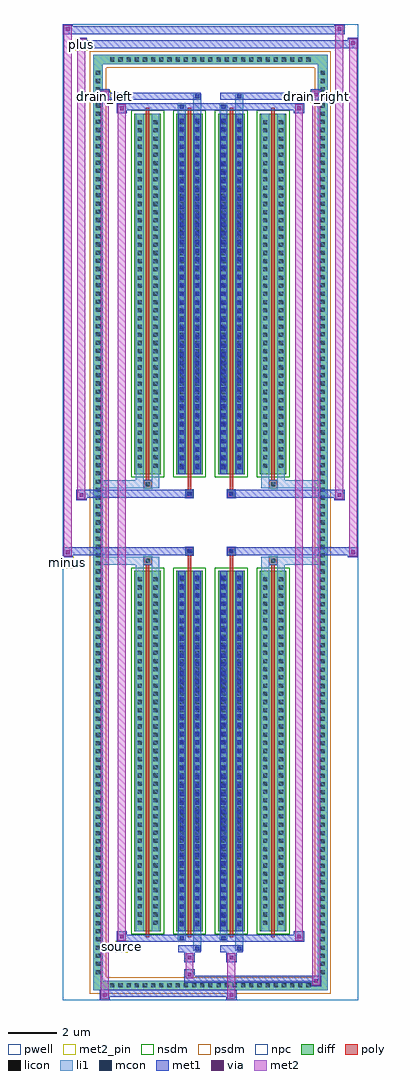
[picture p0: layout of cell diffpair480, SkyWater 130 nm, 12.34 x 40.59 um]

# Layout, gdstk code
import gdstk
lib = gdstk.Library(unit=1e-6, precision=5e-09)
def R(c, l, rs):  # rectangles x0, y0, x1, y1
    for r in rs: c.add(gdstk.rectangle(r[:2], r[2:], *l))
def A(c, l, x, y, w, h, nx, ny, dx, dy):  # array of equal rectangles
    R(c, l, [(x+i*dx, y+j*dy, x+i*dx+w, y+j*dy+h) for i in range(nx) for j in range(ny)])
def P(c, l, *ps):  # polygons
    for p in ps: c.add(gdstk.Polygon(p, *l))
pwell = (64, 44)
diff = (65, 20)
poly = (66, 20)
licon = (66, 44)
li1 = (67, 20)
mcon = (67, 44)
met1 = (68, 20)
via = (68, 44)
met2_pin = (69, 16)
met2 = (69, 20)
nsdm = (93, 44)
psdm = (94, 20)
npc = (95, 20)

diffpair480 = lib.new_cell('diffpair480')
R(diffpair480, pwell, [(-6.15,-19.86,6.15,20.73), (-3.47,-18.05,-0.01,-0.825), (0.01,-18.05,3.47,-0.825), (-3.47,0.825,-0.01,18.05), (0.01,0.825,3.47,18.05)])
A(diffpair480, diff, -4.285, -19.46, 0.41, 0.41, 25, 2, 0.34, 38.51)
A(diffpair480, diff, -4.88, -18.905, 0.41, 0.41, 1, 111, 0, 0.34)
A(diffpair480, diff, 4.47, -18.905, 0.41, 0.41, 1, 111, 0, 0.34)
A(diffpair480, diff, -3.16, -17.005, 1.1, 15, 4, 2, 1.74, 19.01)
R(diffpair480, diff, [(-4.285,-19.46,4.285,-19.05), (-4.88,-18.905,-4.47,18.905), (4.47,-18.905,4.88,18.905), (-4.285,19.05,4.285,19.46)])
P(diffpair480, diff, [(4.88,19.46),(-4.88,19.46),(-4.88,-19.05),(-4.47,-19.05),(-4.47,19.05),(4.47,19.05),(4.47,-19.05),(-4.47,-19.05),(-4.88,-19.05),(-4.88,-19.46),(4.88,-19.46)])
A(diffpair480, poly, -2.685, -17.255, 0.15, 15.5, 4, 2, 1.74, 19.01)
R(diffpair480, poly, [(-2.775,-1.755,-2.445,-1.425), (-2.775,-1.755,-2.445,-1.425), (-0.945,-1.755,-0.795,-1.355), (0.795,-1.755,0.945,-1.355), (2.445,-1.755,2.775,-1.425), (2.445,-1.755,2.775,-1.425), (-1.035,-1.355,-0.705,-1.025), (-1.035,-1.355,-0.705,-1.025), (0.705,-1.355,1.035,-1.025), (0.705,-1.355,1.035,-1.025), (-1.035,1.025,-0.705,1.355), (-1.035,1.025,-0.705,1.355), (0.705,1.025,1.035,1.355), (0.705,1.025,1.035,1.355), (-0.945,1.355,-0.795,1.755), (0.795,1.355,0.945,1.755), (-2.775,1.425,-2.445,1.755), (-2.775,1.425,-2.445,1.755), (2.445,1.425,2.775,1.755), (2.445,1.425,2.775,1.755)])
A(diffpair480, licon, -4.165, -19.34, 0.17, 0.17, 25, 2, 0.34, 38.51)
A(diffpair480, licon, -4.76, -18.785, 0.17, 0.17, 1, 111, 0, 0.34)
A(diffpair480, licon, 4.59, -18.785, 0.17, 0.17, 1, 111, 0, 0.34)
A(diffpair480, licon, -3.02, -16.73, 0.17, 0.17, 1, 43, 0, 0.34)
A(diffpair480, licon, -2.37, -16.73, 0.17, 0.17, 1, 43, 0, 0.34)
A(diffpair480, licon, -1.28, -16.73, 0.17, 0.17, 1, 43, 0, 0.34)
A(diffpair480, licon, -0.63, -16.73, 0.17, 0.17, 1, 43, 0, 0.34)
A(diffpair480, licon, 0.46, -16.73, 0.17, 0.17, 1, 43, 0, 0.34)
A(diffpair480, licon, 1.11, -16.73, 0.17, 0.17, 1, 43, 0, 0.34)
A(diffpair480, licon, 2.2, -16.73, 0.17, 0.17, 1, 43, 0, 0.34)
A(diffpair480, licon, 2.85, -16.73, 0.17, 0.17, 1, 43, 0, 0.34)
A(diffpair480, licon, -3.02, 2.28, 0.17, 0.17, 1, 43, 0, 0.34)
A(diffpair480, licon, -2.37, 2.28, 0.17, 0.17, 1, 43, 0, 0.34)
A(diffpair480, licon, -1.28, 2.28, 0.17, 0.17, 1, 43, 0, 0.34)
A(diffpair480, licon, -0.63, 2.28, 0.17, 0.17, 1, 43, 0, 0.34)
A(diffpair480, licon, 0.46, 2.28, 0.17, 0.17, 1, 43, 0, 0.34)
A(diffpair480, licon, 1.11, 2.28, 0.17, 0.17, 1, 43, 0, 0.34)
A(diffpair480, licon, 2.2, 2.28, 0.17, 0.17, 1, 43, 0, 0.34)
A(diffpair480, licon, 2.85, 2.28, 0.17, 0.17, 1, 43, 0, 0.34)
R(diffpair480, licon, [(-2.695,-1.675,-2.525,-1.505), (2.525,-1.675,2.695,-1.505), (-0.955,-1.275,-0.785,-1.105), (0.785,-1.275,0.955,-1.105), (-0.955,1.105,-0.785,1.275), (0.785,1.105,0.955,1.275), (-2.695,1.505,-2.525,1.675), (2.525,1.505,2.695,1.675)])
A(diffpair480, li1, -4.245, -19.42, 0.33, 0.33, 25, 2, 0.34, 38.51)
A(diffpair480, li1, -4.84, -18.865, 0.33, 0.33, 1, 111, 0, 0.34)
A(diffpair480, li1, 4.51, -18.865, 0.33, 0.33, 1, 111, 0, 0.34)
A(diffpair480, li1, -3.1, -16.81, 0.33, 0.33, 1, 43, 0, 0.34)
A(diffpair480, li1, -2.45, -16.81, 0.33, 0.33, 1, 43, 0, 0.34)
A(diffpair480, li1, -1.36, -16.81, 0.33, 0.33, 1, 43, 0, 0.34)
A(diffpair480, li1, -0.71, -16.81, 0.33, 0.33, 1, 43, 0, 0.34)
A(diffpair480, li1, 0.38, -16.81, 0.33, 0.33, 1, 43, 0, 0.34)
A(diffpair480, li1, 1.03, -16.81, 0.33, 0.33, 1, 43, 0, 0.34)
A(diffpair480, li1, 2.12, -16.81, 0.33, 0.33, 1, 43, 0, 0.34)
A(diffpair480, li1, 2.77, -16.81, 0.33, 0.33, 1, 43, 0, 0.34)
A(diffpair480, li1, -1.28, -16.79, 0.17, 0.17, 1, 41, 0, 0.36)
A(diffpair480, li1, -0.63, -16.79, 0.17, 0.17, 1, 41, 0, 0.36)
A(diffpair480, li1, 0.46, -16.79, 0.17, 0.17, 1, 41, 0, 0.36)
A(diffpair480, li1, 1.11, -16.79, 0.17, 0.17, 1, 41, 0, 0.36)
A(diffpair480, li1, -3.1, 2.2, 0.33, 0.33, 1, 43, 0, 0.34)
A(diffpair480, li1, -2.45, 2.2, 0.33, 0.33, 1, 43, 0, 0.34)
A(diffpair480, li1, -1.36, 2.2, 0.33, 0.33, 1, 43, 0, 0.34)
A(diffpair480, li1, -0.71, 2.2, 0.33, 0.33, 1, 43, 0, 0.34)
A(diffpair480, li1, 0.38, 2.2, 0.33, 0.33, 1, 43, 0, 0.34)
A(diffpair480, li1, 1.03, 2.2, 0.33, 0.33, 1, 43, 0, 0.34)
A(diffpair480, li1, 2.12, 2.2, 0.33, 0.33, 1, 43, 0, 0.34)
A(diffpair480, li1, 2.77, 2.2, 0.33, 0.33, 1, 43, 0, 0.34)
A(diffpair480, li1, -1.28, 2.22, 0.17, 0.17, 1, 41, 0, 0.36)
A(diffpair480, li1, -0.63, 2.22, 0.17, 0.17, 1, 41, 0, 0.36)
A(diffpair480, li1, 0.46, 2.22, 0.17, 0.17, 1, 41, 0, 0.36)
A(diffpair480, li1, 1.11, 2.22, 0.17, 0.17, 1, 41, 0, 0.36)
R(diffpair480, li1, [(-4.88,-19.46,-4.47,-19.05), (-4.88,-19.46,-4.47,-19.05), (-4.47,-19.46,4.47,-19.05), (4.47,-19.46,4.88,-19.05), (4.47,-19.46,4.88,-19.05), (-4.88,-19.05,-4.47,19.05), (4.47,-19.05,4.88,19.05), (-0.71,-17.81,-0.38,-17.005), (-0.63,-17.81,-0.46,-17.64), (1.03,-17.81,1.36,-17.005), (1.11,-17.81,1.28,-17.64), (-1.36,-17.38,-1.03,-17.005), (-1.28,-17.38,-1.11,-17.21), (0.38,-17.38,0.71,-17.005), (0.46,-17.38,0.63,-17.21), (-3.1,-17.005,-2.77,-2.005), (-2.45,-17.005,-2.12,-2.005), (-1.36,-17.005,-1.03,-2.005), (-0.71,-17.005,-0.38,-2.005), (0.38,-17.005,0.71,-2.005), (1.03,-17.005,1.36,-2.005), (2.12,-17.005,2.45,-2.005), (2.77,-17.005,3.1,-2.005), (-1.28,-16.79,-1.11,-2.22), (-0.63,-16.79,-0.46,-2.22), (0.46,-16.79,0.63,-2.22), (1.11,-16.79,1.28,-2.22), (-3.1,-2.005,-2.77,-1.425), (-2.45,-2.005,-2.12,-1.425), (2.12,-2.005,2.45,-1.425), (2.77,-2.005,3.1,-1.425), (-4.88,-1.755,-2.775,-1.425), (-3.1,-1.755,-2.775,-1.425), (-2.775,-1.755,-2.445,-1.425), (-2.445,-1.755,-2.12,-1.425), (2.12,-1.755,2.445,-1.425), (2.445,-1.755,2.775,-1.425), (2.445,-1.755,4.88,-1.425), (2.775,-1.755,3.1,-1.425), (-1.035,-1.355,-0.705,-1.025), (0.705,-1.355,1.035,-1.025), (-1.035,1.025,-0.705,1.355), (0.705,1.025,1.035,1.355), (-4.88,1.425,-2.775,1.755), (-3.1,1.425,-2.775,1.755), (-3.1,1.425,-2.77,2.005), (-2.775,1.425,-2.445,1.755), (-2.45,1.425,-2.12,2.005), (-2.445,1.425,-2.12,1.755), (2.12,1.425,2.445,1.755), (2.12,1.425,2.45,2.005), (2.445,1.425,2.775,1.755), (2.445,1.425,4.88,1.755), (2.77,1.425,3.1,2.005), (2.775,1.425,3.1,1.755), (-3.1,2.005,-2.77,17.005), (-2.45,2.005,-2.12,17.005), (-1.36,2.005,-1.03,17.005), (-0.71,2.005,-0.38,17.005), (0.38,2.005,0.71,17.005), (1.03,2.005,1.36,17.005), (2.12,2.005,2.45,17.005), (2.77,2.005,3.1,17.005), (-1.28,2.22,-1.11,16.79), (-0.63,2.22,-0.46,16.79), (0.46,2.22,0.63,16.79), (1.11,2.22,1.28,16.79), (-1.36,17.005,-1.03,17.38), (-0.71,17.005,-0.38,17.81), (0.38,17.005,0.71,17.38), (1.03,17.005,1.36,17.81), (-1.28,17.21,-1.11,17.38), (0.46,17.21,0.63,17.38), (-0.63,17.64,-0.46,17.81), (1.11,17.64,1.28,17.81), (-4.88,19.05,-4.47,19.46), (-4.88,19.05,-4.47,19.46), (-4.47,19.05,4.47,19.46), (4.47,19.05,4.88,19.46), (4.47,19.05,4.88,19.46)])
A(diffpair480, mcon, -1.28, -16.79, 0.17, 0.17, 1, 41, 0, 0.36)
A(diffpair480, mcon, -0.63, -16.79, 0.17, 0.17, 1, 41, 0, 0.36)
A(diffpair480, mcon, 0.46, -16.79, 0.17, 0.17, 1, 41, 0, 0.36)
A(diffpair480, mcon, 1.11, -16.79, 0.17, 0.17, 1, 41, 0, 0.36)
A(diffpair480, mcon, -1.28, 2.22, 0.17, 0.17, 1, 41, 0, 0.36)
A(diffpair480, mcon, -0.63, 2.22, 0.17, 0.17, 1, 41, 0, 0.36)
A(diffpair480, mcon, 0.46, 2.22, 0.17, 0.17, 1, 41, 0, 0.36)
A(diffpair480, mcon, 1.11, 2.22, 0.17, 0.17, 1, 41, 0, 0.36)
R(diffpair480, mcon, [(-0.63,-17.81,-0.46,-17.64), (1.11,-17.81,1.28,-17.64), (-1.28,-17.38,-1.11,-17.21), (0.46,-17.38,0.63,-17.21), (-0.955,-1.275,-0.785,-1.105), (0.785,-1.275,0.955,-1.105), (-0.955,1.105,-0.785,1.275), (0.785,1.105,0.955,1.275), (-1.28,17.21,-1.11,17.38), (0.46,17.21,0.63,17.38), (-0.63,17.64,-0.46,17.81), (1.11,17.64,1.28,17.81)])
A(diffpair480, met1, -1.34, -16.85, 0.29, 0.29, 1, 41, 0, 0.36)
A(diffpair480, met1, -0.69, -16.85, 0.29, 0.29, 1, 41, 0, 0.36)
A(diffpair480, met1, 0.4, -16.85, 0.29, 0.29, 1, 41, 0, 0.36)
A(diffpair480, met1, 1.05, -16.85, 0.29, 0.29, 1, 41, 0, 0.36)
A(diffpair480, met1, -1.34, 2.16, 0.29, 0.29, 1, 41, 0, 0.36)
A(diffpair480, met1, -0.69, 2.16, 0.29, 0.29, 1, 41, 0, 0.36)
A(diffpair480, met1, 0.4, 2.16, 0.29, 0.29, 1, 41, 0, 0.36)
A(diffpair480, met1, 1.05, 2.16, 0.29, 0.29, 1, 41, 0, 0.36)
R(diffpair480, met1, [(-4.61,-19.86,-4.18,-19.43), (0.655,-19.86,1.085,-19.43), (-4.61,-19.72,1.085,-19.43), (4.18,-19.29,4.61,-18.86), (-1.085,-19.15,4.61,-18.86), (-1.085,-19.01,-0.655,-18.58), (-1.085,-18.3,-0.655,-17.87), (0.655,-18.3,1.085,-17.87), (-1.34,-17.87,-0.4,-17.58), (-0.69,-17.87,-0.4,-17.58), (0.4,-17.87,1.34,-17.58), (1.05,-17.87,1.34,-17.58), (-3.9,-17.44,-3.47,-17.01), (-3.9,-17.44,-1.34,-17.15), (-1.34,-17.44,-1.05,-17.15), (-1.34,-17.44,-0.4,-17.15), (-0.4,-17.44,0.4,-17.15), (0.4,-17.44,0.69,-17.15), (0.4,-17.44,1.34,-17.15), (1.34,-17.44,3.9,-17.15), (3.47,-17.44,3.9,-17.01), (-1.34,-17.005,-1.05,-2.005), (-0.69,-17.005,-0.4,-2.005), (0.4,-17.005,0.69,-2.005), (1.05,-17.005,1.34,-2.005), (-6.15,-1.455,-5.72,-1.025), (5.72,-1.455,6.15,-1.025), (-6.15,-1.355,-0.705,-1.025), (-1.035,-1.355,-0.705,-1.025), (0.705,-1.355,1.035,-1.025), (0.705,-1.355,6.15,-1.025), (-1.015,-1.335,-0.725,-1.045), (0.725,-1.335,1.015,-1.045), (-5.58,0.925,-5.15,1.355), (5.15,0.925,5.58,1.355), (-5.58,1.025,-1.035,1.355), (-1.035,1.025,-0.705,1.355), (0.705,1.025,1.035,1.355), (1.035,1.025,5.58,1.355), (-1.015,1.045,-0.725,1.335), (0.725,1.045,1.015,1.335), (-1.34,2.005,-1.05,17.005), (-0.69,2.005,-0.4,17.005), (0.4,2.005,0.69,17.005), (1.05,2.005,1.34,17.005), (-3.9,17.01,-3.47,17.44), (3.47,17.01,3.9,17.44), (-3.9,17.15,-1.34,17.44), (-1.34,17.15,-1.05,17.44), (-1.34,17.15,-0.4,17.44), (-0.4,17.15,0.4,17.44), (0.4,17.15,0.69,17.44), (0.4,17.15,1.34,17.44), (1.34,17.15,3.9,17.44), (-4.61,17.58,-4.18,18.01), (-4.61,17.58,-1.34,17.87), (-1.34,17.58,-0.4,17.87), (-0.69,17.58,-0.4,17.87), (0.4,17.58,1.34,17.87), (1.05,17.58,1.34,17.87), (1.34,17.58,4.61,17.87), (4.18,17.58,4.61,18.01), (-5.58,19.73,-5.15,20.16), (-5.58,19.73,-3.47,20.06), (-3.47,19.73,3.47,20.06), (3.47,19.73,6.15,20.06), (5.72,19.73,6.15,20.16), (-6.15,20.3,-5.72,20.73), (-6.15,20.3,-3.47,20.63), (-3.47,20.3,3.47,20.63), (3.47,20.3,5.58,20.63), (5.15,20.3,5.58,20.73)])
R(diffpair480, via, [(-4.47,-19.72,-4.32,-19.57), (0.795,-19.72,0.945,-19.57), (4.32,-19.15,4.47,-19), (-0.945,-18.87,-0.795,-18.72), (-0.945,-18.16,-0.795,-18.01), (0.795,-18.16,0.945,-18.01), (-3.76,-17.3,-3.61,-17.15), (3.61,-17.3,3.76,-17.15), (-6.01,-1.315,-5.86,-1.165), (5.86,-1.315,6.01,-1.165), (-5.44,1.065,-5.29,1.215), (5.29,1.065,5.44,1.215), (-3.76,17.15,-3.61,17.3), (3.61,17.15,3.76,17.3), (-4.47,17.72,-4.32,17.87), (4.32,17.72,4.47,17.87), (-5.44,19.87,-5.29,20.02), (5.86,19.87,6.01,20.02), (-6.01,20.44,-5.86,20.59), (5.29,20.44,5.44,20.59)])
R(diffpair480, met2_pin, [(-3.935,-17.89,-3.435,-17.39), (-6.185,-1.905,-5.685,-1.405), (-4.645,17.46,-4.145,17.96), (4.145,17.46,4.645,17.96), (-5.615,19.61,-5.115,20.11)])
R(diffpair480, met2, [(-4.56,-19.81,-4.23,-19.48), (-4.56,-19.81,-4.23,17.96), (0.705,-19.81,1.035,-19.48), (0.705,-19.48,1.035,-18.25), (4.23,-19.24,4.56,-18.91), (4.23,-19.24,4.56,17.96), (-1.035,-18.96,-0.705,-18.63), (-1.035,-18.63,-0.705,-18.25), (-1.035,-18.25,-0.705,-17.92), (0.705,-18.25,1.035,-17.92), (-3.85,-17.39,-3.52,-17.06), (-3.85,-17.39,-3.52,17.39), (3.52,-17.39,3.85,-17.06), (3.52,-17.39,3.85,17.39), (-6.1,-1.405,-5.77,-1.075), (-6.1,-1.405,-5.77,20.68), (5.77,-1.405,6.1,-1.075), (5.77,-1.405,6.1,20.11), (-5.53,0.975,-5.2,1.305), (-5.53,0.975,-5.2,20.11), (5.2,0.975,5.53,1.305), (5.2,0.975,5.53,20.68), (-3.85,17.06,-3.52,17.39), (3.52,17.06,3.85,17.39), (-4.56,17.63,-4.23,17.96), (4.23,17.63,4.56,17.96), (-5.53,19.78,-5.2,20.11), (5.77,19.78,6.1,20.11), (-6.1,20.35,-5.77,20.68), (5.2,20.35,5.53,20.68)])
P(diffpair480, met2, [(6.1,-1.405),(6.1,-1.405),(6.1,-1.075),(6.1,-1.075)],
  [(6.1,19.78),(6.1,19.78),(6.1,20.11),(6.1,20.11)],
  [(-5.77,-1.405),(-5.77,-1.405),(-5.77,-1.075),(-5.77,-1.075)],
  [(-5.77,20.35),(-5.77,20.35),(-5.77,20.68),(-5.77,20.68)],
  [(5.53,0.975),(5.53,0.975),(5.53,1.305),(5.53,1.305)],
  [(5.53,20.35),(5.53,20.35),(5.53,20.68),(5.53,20.68)],
  [(-5.2,0.975),(-5.2,0.975),(-5.2,1.305),(-5.2,1.305)],
  [(-5.2,19.78),(-5.2,19.78),(-5.2,20.11),(-5.2,20.11)],
  [(-4.23,-19.81),(-4.23,-19.81),(-4.23,-19.48),(-4.23,-19.48)],
  [(-4.23,17.63),(-4.23,17.63),(-4.23,17.96),(-4.23,17.96)],
  [(4.56,-19.24),(4.56,-19.24),(4.56,-18.91),(4.56,-18.91)],
  [(4.56,17.63),(4.56,17.63),(4.56,17.96),(4.56,17.96)],
  [(-3.52,-17.39),(-3.52,-17.39),(-3.52,-17.06),(-3.52,-17.06)],
  [(-3.52,17.06),(-3.52,17.06),(-3.52,17.39),(-3.52,17.39)],
  [(3.85,-17.39),(3.85,-17.39),(3.85,-17.06),(3.85,-17.06)],
  [(3.85,17.06),(3.85,17.06),(3.85,17.39),(3.85,17.39)])
A(diffpair480, nsdm, -3.29, -17.135, 1.36, 15.26, 4, 2, 1.74, 19.01)
P(diffpair480, psdm, [(5.01,19.59),(-5.01,19.59),(-5.01,-18.92),(-4.34,-18.92),(-4.34,18.92),(4.34,18.92),(4.34,-18.92),(-4.34,-18.92),(-5.01,-18.92),(-5.01,-19.59),(5.01,-19.59)])
R(diffpair480, npc, [(-2.795,-1.775,-2.425,-1.405), (2.425,-1.775,2.795,-1.405), (-1.055,-1.375,-0.685,-1.005), (0.685,-1.375,1.055,-1.005), (-1.055,1.005,-0.685,1.375), (0.685,1.005,1.055,1.375), (-2.795,1.405,-2.425,1.775), (2.425,1.405,2.795,1.775)])
diffpair480.add(gdstk.Label('minus', (-5.935,-1.655), layer=69, texttype=5))
diffpair480.add(gdstk.Label('drain_right', (4.395,17.71), layer=69, texttype=5))
diffpair480.add(gdstk.Label('drain_left', (-4.395,17.71), layer=69, texttype=5))
diffpair480.add(gdstk.Label('source', (-3.685,-17.64), layer=69, texttype=5))
diffpair480.add(gdstk.Label('plus', (-5.365,19.86), layer=69, texttype=5))

lib.write_gds('diffpair480.gds')
